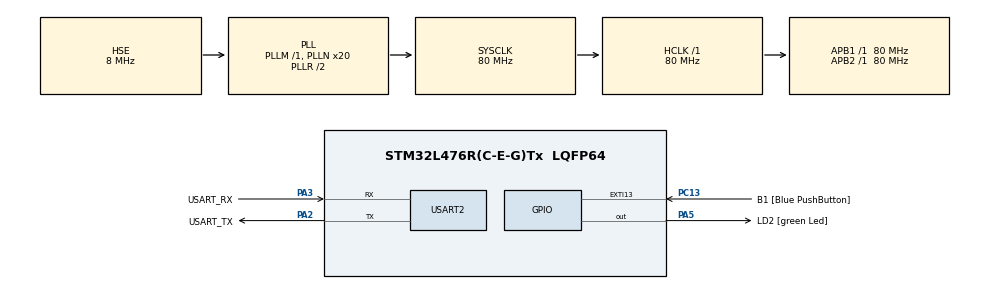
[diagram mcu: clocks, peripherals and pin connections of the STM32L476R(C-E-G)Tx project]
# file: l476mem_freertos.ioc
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FREERTOS.BinarySemaphores01=myBinarySem1,Dynamic,NULL
FREERTOS.Tasks01=ledTask1,-1,128,StartledTask1,Default,NULL,Dynamic,NULL,NULL;mallocTask2,0,128,StartmallocTask2,Default,NULL,Dynamic,NULL,NULL;keyTask3,0,128,StartkeyTask3,Default,NULL,Dynamic,NULL,NULL
Mcu.Family=STM32L4
Mcu.Name=STM32L476R(C-E-G)Tx
Mcu.Package=LQFP64
NVIC.EXTI15_10_IRQn=true\:5\:0\:false\:false\:true\:true\:true\:true
NVIC.PriorityGroup=NVIC_PRIORITYGROUP_4
NVIC.TIM6_DAC_IRQn=true\:0\:0\:false\:false\:true\:false\:false\:true
NVIC.TimeBase=TIM6_DAC_IRQn
NVIC.TimeBaseIP=TIM6
PA13\ (JTMS-SWDIO).GPIO_Label=TMS
PA13\ (JTMS-SWDIO).Mode=Serial_Wire
PA13\ (JTMS-SWDIO).Signal=SYS_JTMS-SWDIO
PA14\ (JTCK-SWCLK).GPIO_Label=TCK
PA14\ (JTCK-SWCLK).Mode=Serial_Wire
PA14\ (JTCK-SWCLK).Signal=SYS_JTCK-SWCLK
PA2.GPIO_Label=USART_TX
PA2.GPIO_Mode=GPIO_MODE_AF_PP
PA2.GPIO_PuPd=GPIO_NOPULL
PA2.GPIO_Speed=GPIO_SPEED_FREQ_VERY_HIGH
PA2.Mode=Asynchronous
PA2.Signal=USART2_TX
PA3.GPIO_Label=USART_RX
PA3.GPIO_Mode=GPIO_MODE_AF_PP
PA3.GPIO_PuPd=GPIO_NOPULL
PA3.GPIO_Speed=GPIO_SPEED_FREQ_VERY_HIGH
PA3.Mode=Asynchronous
PA3.Signal=USART2_RX
PA5.GPIO_Label=LD2 [green Led]
PA5.GPIO_ModeDefaultOutputPP=GPIO_MODE_OUTPUT_PP
PA5.GPIO_PuPd=GPIO_NOPULL
PA5.GPIO_Speed=GPIO_SPEED_FREQ_LOW
PA5.Signal=GPIO_Output
PB3\ (JTDO-TRACESWO).GPIO_Label=SWO
PB3\ (JTDO-TRACESWO).Signal=SYS_JTDO-SWO
PC13.GPIO_Label=B1 [Blue PushButton]
PC13.GPIO_ModeDefaultEXTI=GPIO_MODE_IT_FALLING
PC13.GPIO_PuPd=GPIO_PULLUP
PC13.Signal=GPXTI13
PC14-OSC32_IN\ (PC14).Signal=RCC_OSC32_IN
PC15-OSC32_OUT\ (PC15).Signal=RCC_OSC32_OUT
PH0-OSC_IN\ (PH0).Mode=HSE-External-Oscillator
PH0-OSC_IN\ (PH0).Signal=RCC_OSC_IN
PH1-OSC_OUT\ (PH1).Mode=HSE-External-Oscillator
PH1-OSC_OUT\ (PH1).Signal=RCC_OSC_OUT
ProjectManager.HeapSize=0x200
ProjectManager.StackSize=0x400
ProjectManager.TargetToolchain=MDK-ARM V5.27
RCC.ADCFreq_Value=32000000
RCC.AHBFreq_Value=80000000
RCC.APB1Freq_Value=80000000
RCC.APB1TimFreq_Value=80000000
RCC.APB2Freq_Value=80000000
RCC.APB2TimFreq_Value=80000000
RCC.CortexFreq_Value=80000000
RCC.HCLKFreq_Value=80000000
RCC.HSE_VALUE=8000000
RCC.HSI_VALUE=16000000
RCC.MSI_VALUE=4000000
RCC.PLLN=20
RCC.PLLSourceVirtual=RCC_PLLSOURCE_HSE
RCC.PREFETCH_ENABLE=1
RCC.SYSCLKFreq_VALUE=80000000
RCC.SYSCLKSource=RCC_SYSCLKSOURCE_PLLCLK
RCC.USBFreq_Value=32000000
RCC.VCOOutputFreq_Value=160000000
USART2.VirtualMode-Asynchronous=VM_ASYNC
VP_FREERTOS_VS_CMSIS_V1.Mode=CMSIS_V1
VP_SYS_VS_tim6.Mode=TIM6
board=NUCLEO-L476RG

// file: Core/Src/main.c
/* USER CODE BEGIN Header */
/**
  ******************************************************************************
  * @file           : main.c
  * @brief          : Main program body
  ******************************************************************************
  * @attention
  *
  * <h2><center>&copy; Copyright (c) 2020 STMicroelectronics.
  * All rights reserved.</center></h2>
  *
  * This software component is licensed by ST under Ultimate Liberty license
  * SLA0044, the "License"; You may not use this file except in compliance with
  * the License. You may obtain a copy of the License at:
  *                             www.st.com/SLA0044
  *
  ******************************************************************************
  */
/* USER CODE END Header */

#include "main.h"
#include "cmsis_os.h"
#include "usart.h"
#include "gpio.h"

/* USER CODE BEGIN PV */
  uint8_t interrupt_flag ;
/* USER CODE END PV */

void SystemClock_Config(void);
void MX_FREERTOS_Init(void);

int main(void)
{

  /* MCU Configuration--------------------------------------------------------*/

  /* Reset of all peripherals, Initializes the Flash interface and the Systick. */
  HAL_Init();

  /* Configure the system clock */
  SystemClock_Config();

  /* Initialize all configured peripherals */
  MX_GPIO_Init();
  MX_USART2_UART_Init();

  /* Call init function for freertos objects (in freertos.c) */
  MX_FREERTOS_Init();

  /* Start scheduler */
  osKernelStart();

  /* We should never get here as control is now taken by the scheduler */

  /* Infinite loop */
  while (1)
  {

  }
}

void SystemClock_Config(void)
{
  RCC_OscInitTypeDef RCC_OscInitStruct = {0};
  RCC_ClkInitTypeDef RCC_ClkInitStruct = {0};
  RCC_PeriphCLKInitTypeDef PeriphClkInit = {0};

  /** Initializes the CPU, AHB and APB busses clocks
  */
  RCC_OscInitStruct.OscillatorType = RCC_OSCILLATORTYPE_HSE;
  RCC_OscInitStruct.HSEState = RCC_HSE_ON;
  RCC_OscInitStruct.PLL.PLLState = RCC_PLL_ON;
  RCC_OscInitStruct.PLL.PLLSource = RCC_PLLSOURCE_HSE;
  RCC_OscInitStruct.PLL.PLLM = 1;
  RCC_OscInitStruct.PLL.PLLN = 20;
  RCC_OscInitStruct.PLL.PLLP = RCC_PLLP_DIV7;
  RCC_OscInitStruct.PLL.PLLQ = RCC_PLLQ_DIV2;
  RCC_OscInitStruct.PLL.PLLR = RCC_PLLR_DIV2;
  if (HAL_RCC_OscConfig(&RCC_OscInitStruct) != HAL_OK)
  {
    Error_Handler();
  }
  /** Initializes the CPU, AHB and APB busses clocks
  */
  RCC_ClkInitStruct.ClockType = RCC_CLOCKTYPE_HCLK|RCC_CLOCKTYPE_SYSCLK
                              |RCC_CLOCKTYPE_PCLK1|RCC_CLOCKTYPE_PCLK2;
  RCC_ClkInitStruct.SYSCLKSource = RCC_SYSCLKSOURCE_PLLCLK;
  RCC_ClkInitStruct.AHBCLKDivider = RCC_SYSCLK_DIV1;
  RCC_ClkInitStruct.APB1CLKDivider = RCC_HCLK_DIV1;
  RCC_ClkInitStruct.APB2CLKDivider = RCC_HCLK_DIV1;

  if (HAL_RCC_ClockConfig(&RCC_ClkInitStruct, FLASH_LATENCY_4) != HAL_OK)
  {
    Error_Handler();
  }
  PeriphClkInit.PeriphClockSelection = RCC_PERIPHCLK_USART2;
  PeriphClkInit.Usart2ClockSelection = RCC_USART2CLKSOURCE_PCLK1;
  if (HAL_RCCEx_PeriphCLKConfig(&PeriphClkInit) != HAL_OK)
  {
    Error_Handler();
  }
  /** Configure the main internal regulator output voltage
  */
  if (HAL_PWREx_ControlVoltageScaling(PWR_REGULATOR_VOLTAGE_SCALE1) != HAL_OK)
  {
    Error_Handler();
  }
}

void HAL_TIM_PeriodElapsedCallback(TIM_HandleTypeDef *htim)
{
  if (htim->Instance == TIM6) {
    HAL_IncTick();
  }
}

void Error_Handler(void)
{
}

/************************ (C) COPYRIGHT STMicroelectronics *****END OF FILE****/

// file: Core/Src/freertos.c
/* USER CODE BEGIN Header */
/**
  ******************************************************************************
  * File Name          : freertos.c
  * Description        : Code for freertos applications
  ******************************************************************************
  * @attention
  *
  * <h2><center>&copy; Copyright (c) 2020 STMicroelectronics.
  * All rights reserved.</center></h2>
  *
  * This software component is licensed by ST under Ultimate Liberty license
  * SLA0044, the "License"; You may not use this file except in compliance with
  * the License. You may obtain a copy of the License at:
  *                             www.st.com/SLA0044
  *
  ******************************************************************************
  */
/* USER CODE END Header */

#include "FreeRTOS.h"
#include "task.h"
#include "main.h"
#include "cmsis_os.h"

/* USER CODE BEGIN Includes */
#include "stdio.h"
#include "gpio.h"
 extern  key_val key_sta;
 extern uint8_t  interrupt_flag;
/* USER CODE END Includes */

/* USER CODE BEGIN Variables */
uint8_t sem1[] = " it is created a  semaphore after 100's";
uint8_t sem2[] = " wait a semaphore ";
uint8_t * pbuffer;

/* USER CODE END Variables */
osThreadId ledTask1Handle;
osThreadId mallocTask2Handle;
osThreadId keyTask3Handle;
osSemaphoreId myBinarySem1Handle;

void StartledTask1(void const * argument);
void StartmallocTask2(void const * argument);
void StartkeyTask3(void const * argument);

void MX_FREERTOS_Init(void); /* (MISRA C 2004 rule 8.1) */

/* GetIdleTaskMemory prototype (linked to static allocation support) */
void vApplicationGetIdleTaskMemory( StaticTask_t **ppxIdleTaskTCBBuffer, StackType_t **ppxIdleTaskStackBuffer, uint32_t *pulIdleTaskStackSize );

/* USER CODE BEGIN GET_IDLE_TASK_MEMORY */
static StaticTask_t xIdleTaskTCBBuffer;
static StackType_t xIdleStack[configMINIMAL_STACK_SIZE];

void vApplicationGetIdleTaskMemory( StaticTask_t **ppxIdleTaskTCBBuffer, StackType_t **ppxIdleTaskStackBuffer, uint32_t *pulIdleTaskStackSize )
{
  *ppxIdleTaskTCBBuffer = &xIdleTaskTCBBuffer;
  *ppxIdleTaskStackBuffer = &xIdleStack[0];
  *pulIdleTaskStackSize = configMINIMAL_STACK_SIZE;
  /* place for user code */
}
/* USER CODE END GET_IDLE_TASK_MEMORY */

void MX_FREERTOS_Init(void) {

  /* Create the semaphores(s) */
  /* definition and creation of myBinarySem1 */
  osSemaphoreDef(myBinarySem1);
  myBinarySem1Handle = osSemaphoreCreate(osSemaphore(myBinarySem1), 1);

  /* Create the thread(s) */
  /* definition and creation of ledTask1 */
  osThreadDef(ledTask1, StartledTask1, osPriorityBelowNormal, 0, 128);
  ledTask1Handle = osThreadCreate(osThread(ledTask1), NULL);

  /* definition and creation of mallocTask2 */
  osThreadDef(mallocTask2, StartmallocTask2, osPriorityNormal, 0, 128);
  mallocTask2Handle = osThreadCreate(osThread(mallocTask2), NULL);

  /* definition and creation of keyTask3 */
  osThreadDef(keyTask3, StartkeyTask3, osPriorityNormal, 0, 128);
  keyTask3Handle = osThreadCreate(osThread(keyTask3), NULL);

}

void StartledTask1(void const * argument)
{
  /* USER CODE BEGIN StartledTask1 */
	uint8_t i=0;
  /* Infinite loop */
  for(;;)
  {
		i++;
		HAL_GPIO_TogglePin(LD2_GPIO_Port, LD2_Pin);
    osDelay(500);
		 if(i==50)
		 {
			 printf(" Task1 to release a Semaphore \r\n");
		   osSemaphoreRelease(myBinarySem1Handle);  // 释放信号量
			 vTaskSuspend(NULL);
		    i=0;
			 //osThreadSuspend(StartledTask1);
		 }
  }
  /* USER CODE END StartledTask1 */
}

void StartmallocTask2(void const * argument)
{
  /* USER CODE BEGIN StartmallocTask2 */
	 static uint8_t timer = 0;
  /* Infinite loop */
  for(;;)
  {
		if(osOK == osSemaphoreWait(myBinarySem1Handle,osWaitForever))
		{
			timer++;
		   pbuffer = pvPortMalloc(60);
			 if( pbuffer != NULL )
			 {
			  printf("the address of memory is = %#x \r\n",(int)pbuffer);
				sprintf((char * )pbuffer, "sem runs %d \r\n",timer );
				 printf(" pbuffer = %s \r\n",pbuffer);
			 }
		}
    osDelay(500);
  }
  /* USER CODE END StartmallocTask2 */
}

void StartkeyTask3(void const * argument)
{
  /* USER CODE BEGIN StartkeyTask3 */
  /* Infinite loop */
  for(;;)
  {
		if((HAL_GPIO_ReadPin(B1_GPIO_Port, B1_Pin) == 0)&(interrupt_flag==1))
		{
		  osDelay(30);
			if((HAL_GPIO_ReadPin(B1_GPIO_Port, B1_Pin) == 0)&(interrupt_flag==1))
			{
				key_sta = key_on;
				interrupt_flag = 0;
			}
		}
		if(key_sta == key_on)
		{
			vPortFree(pbuffer);
			pbuffer = NULL;  //必须的，否则指针不干净
			printf("pbuffer's address after PortFree %#x\r\n",(int)pbuffer) ;
		  vTaskResume(ledTask1Handle);
		}

    osDelay(500);
  }
  /* USER CODE END StartkeyTask3 */
}

/************************ (C) COPYRIGHT STMicroelectronics *****END OF FILE****/
